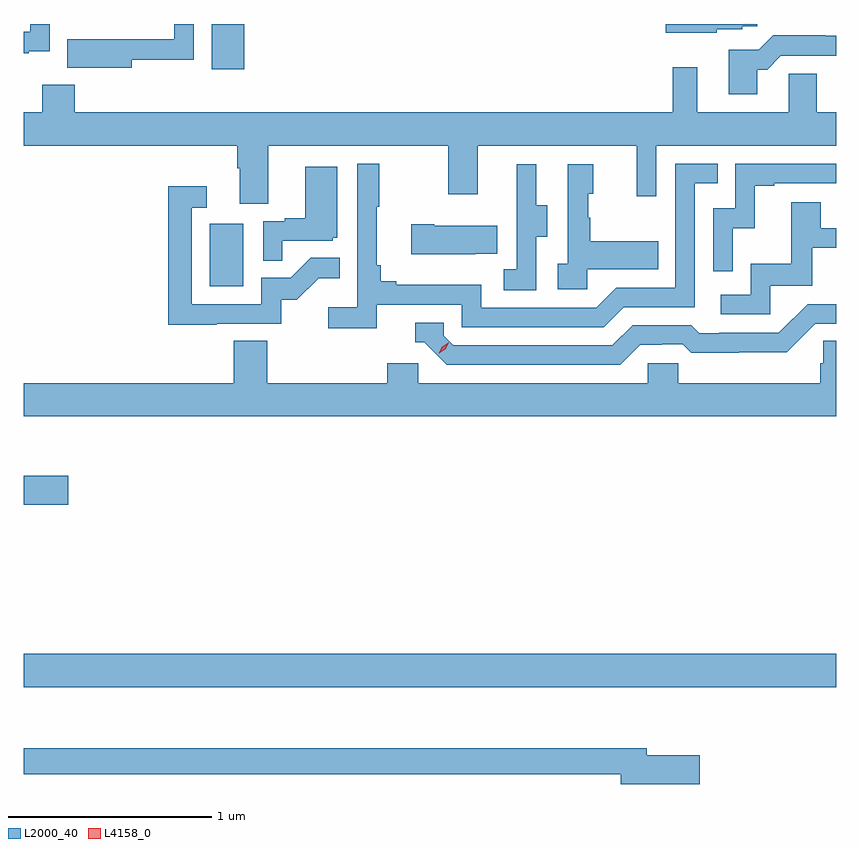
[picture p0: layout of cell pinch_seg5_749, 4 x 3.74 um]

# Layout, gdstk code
import gdstk
lib = gdstk.Library(unit=1e-6, precision=1e-09)
def R(c, l, rs):  # rectangles x0, y0, x1, y1
    for r in rs: c.add(gdstk.rectangle(r[:2], r[2:], *l))
def P(c, l, *ps):  # polygons
    for p in ps: c.add(gdstk.Polygon(p, *l))
L2000_40 = (2000, 40)
L4158_0 = (4158, 0)

pinch_seg5_749 = lib.new_cell('pinch_seg5_749')
R(pinch_seg5_749, L2000_40, [(842.835,896.72,846.835,896.884), (842.835,897.617,843.055,897.759), (843.752,898.692,843.916,898.999), (843.761,899.76,843.922,899.983)])
P(pinch_seg5_749, L2000_40, [(846.246,899.957),(846.372,899.957),(846.372,899.971),(846.445,899.971),(846.445,899.983),(845.996,899.983),(845.996,899.939),(846.246,899.939)],
  [(842.861,899.849),(842.964,899.849),(842.964,899.983),(842.868,899.983),(842.868,899.946),(842.835,899.946),(842.835,899.838),(842.861,899.838)],
  [(843.367,899.806),(843.672,899.806),(843.672,899.983),(843.576,899.983),(843.576,899.907),(843.263,899.907),(843.263,899.908),(843.049,899.908),(843.049,899.768),(843.367,899.768)],
  [(846.445,899.759),(846.494,899.759),(846.561,899.826),(846.835,899.826),(846.835,899.924),(846.779,899.924),(846.779,899.927),(846.524,899.927),(846.453,899.856),(846.305,899.856),(846.305,899.637),(846.445,899.637)],
  [(844.039,899.384),(844.924,899.384),(844.924,899.145),(845.071,899.145),(845.071,899.384),(845.852,899.384),(845.852,899.136),(845.949,899.136),(845.949,899.384),(846.835,899.384),(846.835,899.548),(846.739,899.548),(846.739,899.738),(846.6,899.738),(846.6,899.548),(846.151,899.548),(846.151,899.77),(846.03,899.77),(846.03,899.548),(843.086,899.548),(843.086,899.683),(842.926,899.683),(842.926,899.548),(842.835,899.548),(842.835,899.384),(843.887,899.384),(843.887,899.272),(843.899,899.272),(843.899,899.098),(844.039,899.098)],
  [(844.574,898.602),(844.992,898.602),(844.992,898.491),(845.689,898.491),(845.788,898.59),(846.138,898.59),(846.138,899.199),(846.251,899.199),(846.251,899.295),(846.042,899.295),(846.042,898.686),(845.751,898.686),(845.652,898.587),(845.088,898.587),(845.088,898.699),(844.669,898.699),(844.669,898.718),(844.592,898.718),(844.592,898.795),(844.573,898.795),(844.573,899.083),(844.585,899.083),(844.585,899.296),(844.476,899.296),(844.476,898.588),(844.335,898.588),(844.335,898.486),(844.574,898.486)],
  [(846.324,898.979),(846.434,898.979),(846.434,899.187),(846.529,899.187),(846.529,899.199),(846.835,899.199),(846.835,899.295),(846.336,899.295),(846.336,899.076),(846.228,899.076),(846.228,898.767),(846.324,898.767)],
  [(845.61,898.775),(845.957,898.775),(845.957,898.915),(845.623,898.915),(845.623,899.03),(845.613,899.03),(845.613,899.148),(845.638,899.148),(845.638,899.293),(845.514,899.293),(845.514,898.802),(845.463,898.802),(845.463,898.677),(845.61,898.677)],
  [(845.358,898.936),(845.413,898.936),(845.413,899.091),(845.359,899.091),(845.359,899.293),(845.261,899.293),(845.261,899.079),(845.262,899.079),(845.262,898.775),(845.199,898.775),(845.199,898.672),(845.358,898.672)],
  [(844.109,898.917),(844.356,898.917),(844.356,898.932),(844.378,898.932),(844.378,899.281),(844.22,899.281),(844.22,899.026),(844.121,899.026),(844.121,899.013),(844.014,899.013),(844.014,898.819),(844.109,898.819)],
  [(843.785,898.509),(844.104,898.509),(844.104,898.626),(844.18,898.626),(844.287,898.733),(844.391,898.733),(844.391,898.832),(844.247,898.832),(844.149,898.734),(844.005,898.734),(844.005,898.605),(843.663,898.605),(843.663,899.079),(843.736,899.079),(843.736,899.185),(843.547,899.185),(843.547,898.504),(843.785,898.504)],
  [(846.51,898.695),(846.715,898.695),(846.715,898.881),(846.835,898.881),(846.835,898.977),(846.757,898.977),(846.757,899.107),(846.613,899.107),(846.613,898.804),(846.414,898.804),(846.414,898.65),(846.267,898.65),(846.267,898.554),(846.51,898.554)],
  [(845.057,898.853),(845.165,898.853),(845.165,898.99),(844.855,898.99),(844.855,898.998),(844.743,898.998),(844.743,898.85),(845.057,898.85)],
  [(845.869,898.404),(845.976,898.404),(845.976,898.407),(846.079,898.407),(846.121,898.365),(846.354,898.365),(846.354,898.367),(846.59,898.367),(846.732,898.509),(846.835,898.509),(846.835,898.605),(846.693,898.605),(846.552,898.464),(846.259,898.464),(846.259,898.461),(846.16,898.461),(846.121,898.5),(845.832,898.5),(845.733,898.401),(844.95,898.401),(844.902,898.449),(844.902,898.512),(844.763,898.512),(844.763,898.416),(844.806,898.416),(844.917,898.305),(845.77,898.305)],
  [(846.835,898.424),(846.769,898.424),(846.769,898.314),(846.755,898.314),(846.755,898.216),(846.057,898.216),(846.057,898.314),(845.907,898.314),(845.907,898.216),(844.776,898.216),(844.776,898.314),(844.625,898.314),(844.625,898.216),(844.034,898.216),(844.034,898.424),(843.869,898.424),(843.869,898.216),(842.835,898.216),(842.835,898.052),(846.835,898.052)],
  [(846.163,896.385),(845.902,896.385),(845.902,896.419),(842.835,896.419),(842.835,896.29),(845.774,896.29),(845.774,896.243),(846.163,896.243)])
P(pinch_seg5_749, L4158_0, [(844.879,898.362),(844.879,898.363),(844.896,898.395),(844.926,898.414),(844.927,898.414),(844.927,898.414),(844.91,898.382),(844.88,898.362)])

lib.write_gds('pinch_seg5_749.gds')
